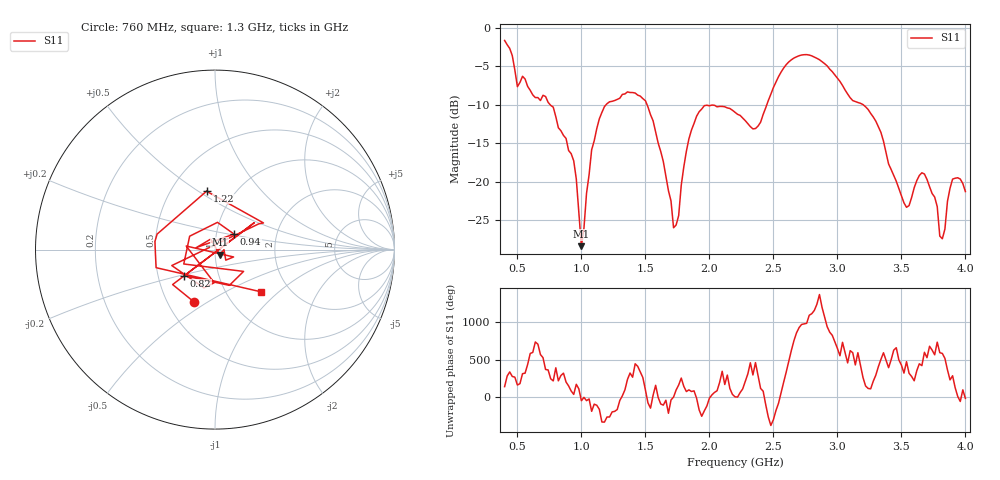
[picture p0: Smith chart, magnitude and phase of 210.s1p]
!Created with skrf (http://scikit-rf.org).
# Hz S RI R 50.0
!freq ReS11 ImS11
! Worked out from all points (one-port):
!   181 points, 400 MHz to 4 GHz, reference 50 ohm
!   lowest |S11| = -28.4 dB at 1 GHz (marker M1), VSWR 1.08, Z = 52.6 - j2.91 ohm
!   |S11| at or under -10 dB: 757.1 MHz to 1.192 GHz (434.5 MHz wide, 44.6 % of centre); 1.514 GHz to 2.448 GHz (934.5 MHz wide, 47.2 % of centre); 3.203 GHz to end of sweep
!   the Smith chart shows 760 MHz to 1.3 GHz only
!   S11 on the Smith chart (normalised r, x): 760 MHz: 0.68, -0.44; 820 MHz: 0.68, -0.21; 940 MHz: 1.22, +0.21; 1.22 GHz: 0.74, +0.55; 1.3 GHz: 1.45, -0.78
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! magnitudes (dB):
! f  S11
! 400 MHz  -1.6
! 500 MHz  -7.6
! 760 MHz  -10.1
! 820 MHz  -13.0
! 860 MHz  -14.0
! 940 MHz  -17.3
! 1 GHz  -28.4
! 1.08 GHz  -15.8
! 1.22 GHz  -9.6
! 1.3 GHz  -9.1
! 1.5 GHz  -9.4
! 1.64 GHz  -17.4
! 1.72 GHz  -26.0
! 1.76 GHz  -24.4
! 1.82 GHz  -16.0
! 1.9 GHz  -11.5
! 2.2 GHz  -11.0
! 2.36 GHz  -13.1
! 2.66 GHz  -3.9
! 2.86 GHz  -4.1
! 3.1 GHz  -9.1
! 3.3 GHz  -12.1
! 3.56 GHz  -23.1
! 3.68 GHz  -19.0
! 3.76 GHz  -22.0
! 3.82 GHz  -27.4
! 3.9 GHz  -19.6
! 4 GHz  -21.3
